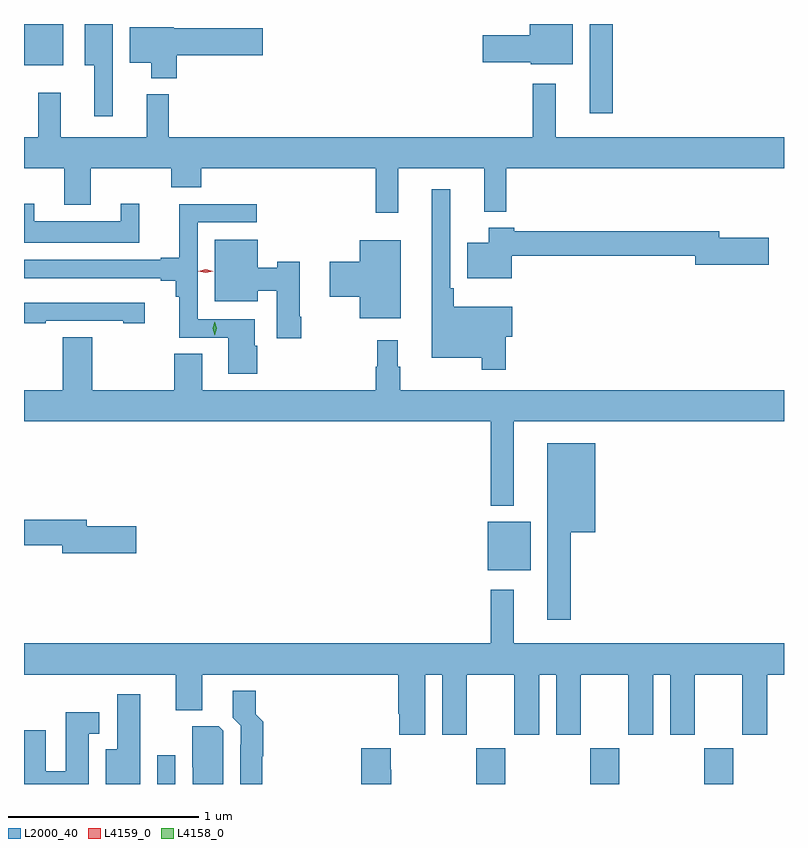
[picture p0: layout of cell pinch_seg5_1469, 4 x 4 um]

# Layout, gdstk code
import gdstk
lib = gdstk.Library(unit=1e-6, precision=1e-09)
def R(c, l, rs):  # rectangles x0, y0, x1, y1
    for r in rs: c.add(gdstk.rectangle(r[:2], r[2:], *l))
def A(c, l, x, y, w, h, nx, ny, dx, dy):  # array of equal rectangles
    R(c, l, [(x+i*dx, y+j*dy, x+i*dx+w, y+j*dy+h) for i in range(nx) for j in range(ny)])
def P(c, l, *ps):  # polygons
    for p in ps: c.add(gdstk.Polygon(p, *l))
L2000_40 = (2000, 40)
L4158_0 = (4158, 0)
L4159_0 = (4159, 0)

pinch_seg5_1469 = lib.new_cell('pinch_seg5_1469')
A(pinch_seg5_1469, L2000_40, 348.007, 837.536, 0.155, 0.188, 3, 1, 0.6, 0)
R(pinch_seg5_1469, L2000_40, [(346.329,837.536,346.425,837.688), (348.068,838.661,348.295,838.915), (348.605,841.065,348.727,841.536), (345.628,841.319,345.835,841.536)])
P(pinch_seg5_1469, L2000_40, [(346.095,841.536),(345.947,841.536),(345.947,841.319),(345.998,841.319),(345.998,841.05),(346.095,841.05)],
  [(348.517,841.536),(348.29,841.536),(348.29,841.478),(348.042,841.478),(348.042,841.336),(348.294,841.336),(348.294,841.325),(348.517,841.325)],
  [(346.433,841.372),(346.885,841.372),(346.885,841.514),(346.416,841.514),(346.416,841.519),(346.184,841.519),(346.184,841.331),(346.298,841.331),(346.298,841.25),(346.433,841.25)],
  [(346.391,841.165),(346.274,841.165),(346.274,840.94),(345.821,840.94),(345.821,841.174),(345.703,841.174),(345.703,840.94),(345.628,840.94),(345.628,840.776),(345.839,840.776),(345.839,840.584),(345.979,840.584),(345.979,840.776),(346.402,840.776),(346.402,840.677),(346.562,840.677),(346.562,840.776),(347.479,840.776),(347.479,840.543),(347.597,840.543),(347.597,840.776),(348.05,840.776),(348.05,840.548),(348.167,840.548),(348.167,840.776),(349.628,840.776),(349.628,840.94),(348.427,840.94),(348.427,841.222),(348.306,841.222),(348.306,840.94),(346.391,840.94)],
  [(348.164,839.891),(348.199,839.891),(348.199,840.049),(347.891,840.049),(347.891,840.145),(347.871,840.145),(347.871,840.667),(347.774,840.667),(347.774,839.78),(348.036,839.78),(348.036,839.715),(348.164,839.715)],
  [(346.235,840.589),(346.136,840.589),(346.136,840.499),(345.682,840.499),(345.682,840.589),(345.628,840.589),(345.628,840.386),(346.235,840.386)],
  [(346.856,839.843),(346.843,839.843),(346.843,839.982),(346.542,839.982),(346.542,840.492),(346.852,840.492),(346.852,840.588),(346.445,840.588),(346.445,840.307),(346.349,840.307),(346.349,840.294),(345.628,840.294),(345.628,840.198),(346.349,840.198),(346.349,840.186),(346.426,840.186),(346.426,840.101),(346.445,840.101),(346.445,839.886),(346.703,839.886),(346.703,839.694),(346.856,839.694)],
  [(348.196,840.316),(349.16,840.316),(349.16,840.269),(349.549,840.269),(349.549,840.411),(349.288,840.411),(349.288,840.445),(348.209,840.445),(348.209,840.463),(348.074,840.463),(348.074,840.385),(347.96,840.385),(347.96,840.197),(348.196,840.197)],
  [(347.088,839.995),(347.08,839.995),(347.08,840.284),(346.962,840.284),(346.962,840.253),(346.858,840.253),(346.858,840.4),(346.631,840.4),(346.631,840.077),(346.858,840.077),(346.858,840.131),(346.958,840.131),(346.958,839.883),(347.088,839.883)],
  [(347.611,840.397),(347.396,840.397),(347.396,840.284),(347.238,840.284),(347.238,840.101),(347.396,840.101),(347.396,839.987),(347.611,839.987)],
  [(345.743,839.973),(346.151,839.973),(346.151,839.961),(346.264,839.961),(346.264,840.069),(345.628,840.069),(345.628,839.961),(345.743,839.961)],
  [(348.205,839.444),(349.628,839.444),(349.628,839.608),(347.608,839.608),(347.608,839.732),(347.596,839.732),(347.596,839.872),(347.487,839.872),(347.487,839.732),(347.479,839.732),(347.479,839.608),(346.567,839.608),(346.567,839.801),(346.42,839.801),(346.42,839.608),(345.987,839.608),(345.987,839.888),(345.832,839.888),(345.832,839.608),(345.628,839.608),(345.628,839.444),(348.084,839.444),(348.084,839),(348.205,839)],
  [(348.505,838.862),(348.634,838.862),(348.634,839.329),(348.383,839.329),(348.383,838.401),(348.505,838.401)],
  [(346.219,838.892),(345.958,838.892),(345.958,838.928),(345.628,838.928),(345.628,838.792),(345.83,838.792),(345.83,838.75),(346.219,838.75)],
  [(347.74,838.112),(347.828,838.112),(347.828,837.795),(347.959,837.795),(347.959,838.112),(348.209,838.112),(348.209,837.795),(348.34,837.795),(348.34,838.112),(348.428,838.112),(348.428,837.795),(348.559,837.795),(348.559,838.112),(348.809,838.112),(348.809,837.795),(348.94,837.795),(348.94,838.112),(349.028,838.112),(349.028,837.795),(349.159,837.795),(349.159,838.112),(349.409,838.112),(349.409,837.795),(349.54,837.795),(349.54,838.112),(349.628,838.112),(349.628,838.276),(348.205,838.276),(348.205,838.558),(348.084,838.558),(348.084,838.276),(345.628,838.276),(345.628,838.112),(346.427,838.112),(346.427,837.925),(346.567,837.925),(346.567,838.112),(347.597,838.112),(347.597,837.907),(347.603,837.907),(347.603,837.795),(347.74,837.795)],
  [(346.883,837.682),(346.886,837.682),(346.886,837.864),(346.847,837.903),(346.847,838.027),(346.727,838.027),(346.727,837.886),(346.77,837.843),(346.77,837.743),(346.767,837.743),(346.767,837.536),(346.883,837.536)],
  [(346.24,838.009),(346.118,838.009),(346.118,837.718),(346.058,837.718),(346.058,837.536),(346.24,837.536)],
  [(345.97,837.8),(346.024,837.8),(346.024,837.913),(345.848,837.913),(345.848,837.602),(345.742,837.602),(345.742,837.82),(345.628,837.82),(345.628,837.536),(345.97,837.536)],
  [(346.677,837.816),(346.653,837.84),(346.514,837.84),(346.514,837.625),(346.515,837.625),(346.515,837.536),(346.677,837.536)],
  [(347.562,837.611),(347.557,837.611),(347.557,837.724),(347.402,837.724),(347.402,837.536),(347.562,837.536)])
P(pinch_seg5_1469, L4158_0, [(346.632,839.898),(346.632,839.898),(346.622,839.934),(346.632,839.97),(346.632,839.97),(346.632,839.97),(346.642,839.934),(346.632,839.898)])
P(pinch_seg5_1469, L4159_0, [(346.584,840.226),(346.544,840.235),(346.544,840.236),(346.544,840.236),(346.584,840.246),(346.625,840.236),(346.625,840.236),(346.625,840.235)])

lib.write_gds('pinch_seg5_1469.gds')
